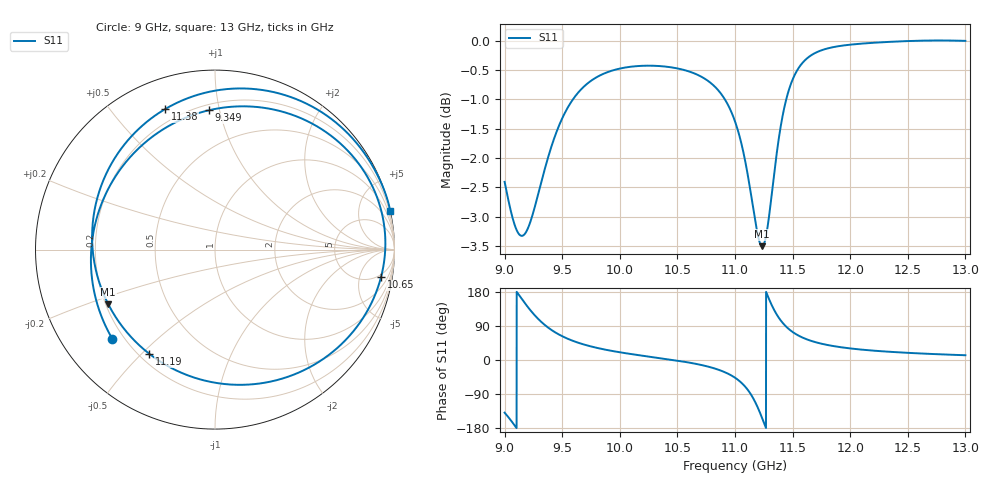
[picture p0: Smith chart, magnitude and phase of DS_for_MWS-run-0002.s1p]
! TOUCHSTONE file generated by CST DESIGN STUDIO
! Date and time: Tue Feb  4 18:32:25 2025
! Project name: C:\Work\MatlabApps\UnitCellOptimizationMatlab\CST\unitcell.cst
! Tree item: Tasks\Sweep1\SPara1\S-Parameters
! Header version: 2024
! Port assignment regex: !\s*Touchstone port\s*([0-9]+)\s*=\s*(CST MWS port|CST DES external port|CST DES block port)\s*(.+)\s* \(\"(.*)\"\)(\s*mode\s*([0-9]+))?.*
! Touchstone port assignment:
! Touchstone port 1 = CST DES external port 1 ("")
# GHz S MA R 50
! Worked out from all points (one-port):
!   4001 points, 9 GHz to 13 GHz, reference 50 ohm
!   lowest |S11| = -3.5 dB at 11.23 GHz (marker M1), VSWR 5.02, Z = 10.5 - j11.6 ohm
!   |S11| at or under -10 dB: nowhere
!   S11 on the Smith chart (normalised r, x): 9 GHz: 0.16, -0.37; 9.349 GHz: 0.24, +0.93; 10.65 GHz: 4, -10; 11.19 GHz: 0.24, -0.53; 11.38 GHz: 0.14, +0.70; 13 GHz: 0.02, +9.08
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9  0.7579 -139.0
9.079  0.7006 -169.3
9.148  0.6816 161.7
9.249  0.7139 122.3
9.349  0.7773 92.4
9.5  0.8585 62.8
9.71  0.9177 39.0
10  0.9466 20.4
10.5  0.9469 -1.7
10.649  0.9375 -9.5
10.86  0.9058 -26.0
11  0.8534 -46.7
11.061  0.8128 -61.6
11.118  0.761 -81.7
11.158  0.7191 -101.0
11.193  0.6863 -122.3
11.235  0.668 -152.9
11.268  0.6803 -178.7
11.3  0.7138 157.5
11.343  0.7744 130.2
11.385  0.8311 109.4
11.435  0.8831 90.9
11.5  0.9264 74.0
11.585  0.9571 59.4
11.689  0.9753 47.9
12  0.9921 30.6
12.5  0.9992 18.9
13  0.9996 12.6
